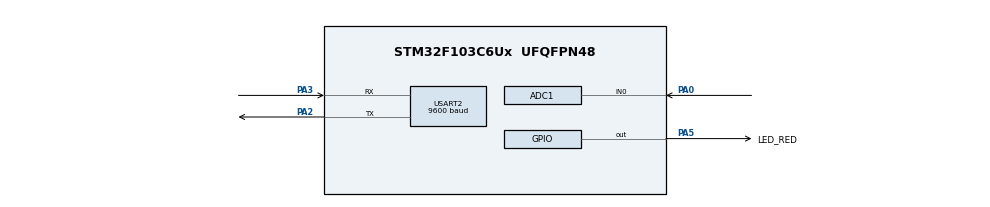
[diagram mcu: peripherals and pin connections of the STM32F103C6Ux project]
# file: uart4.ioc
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ADC1.Channel-0\#ChannelRegularConversion=ADC_CHANNEL_0
ADC1.ContinuousConvMode=ENABLE
ADC1.NbrOfConversionFlag=1
ADC1.Rank-0\#ChannelRegularConversion=1
ADC1.SamplingTime-0\#ChannelRegularConversion=ADC_SAMPLETIME_1CYCLE_5
ADC1.master=1
Mcu.Family=STM32F1
Mcu.Name=STM32F103C6Ux
Mcu.Package=UFQFPN48
NVIC.PriorityGroup=NVIC_PRIORITYGROUP_4
NVIC.TIM2_IRQn=true\:0\:0\:false\:false\:true\:true\:true
NVIC.USART2_IRQn=true\:0\:0\:false\:false\:true\:true\:true
PA0-WKUP.Signal=ADCx_IN0
PA2.Mode=Asynchronous
PA2.Signal=USART2_TX
PA3.Mode=Asynchronous
PA3.Signal=USART2_RX
PA5.GPIO_Label=LED_RED
PA5.Signal=GPIO_Output
ProjectManager.HeapSize=0x200
ProjectManager.StackSize=0x400
ProjectManager.TargetToolchain=STM32CubeIDE
RCC.APB1Freq_Value=8000000
RCC.APB2Freq_Value=8000000
SH.ADCx_IN0.0=ADC1_IN0,IN0
TIM2.Period=9
TIM2.Prescaler=7999
USART2.BaudRate=9600
USART2.VirtualMode=VM_ASYNC
VP_SYS_VS_ND.Mode=No_Debug
VP_TIM2_VS_ClockSourceINT.Mode=Internal
board=custom

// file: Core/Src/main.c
/* USER CODE BEGIN Header */
/**
  ******************************************************************************
  * @file           : main.c
  * @brief          : Main program body
  ******************************************************************************
  * @attention
  *
  * <h2><center>&copy; Copyright (c) 2023 STMicroelectronics.
  * All rights reserved.</center></h2>
  *
  * This software component is licensed by ST under BSD 3-Clause license,
  * the "License"; You may not use this file except in compliance with the
  * License. You may obtain a copy of the License at:
  *                        opensource.org/licenses/BSD-3-Clause
  *
  ******************************************************************************
  */
/* USER CODE END Header */
#include "main.h"
#include "fsm.h"
#include <stdio.h>
#include <string.h>

void SystemClock_Config(void);
static void MX_GPIO_Init(void);
static void MX_ADC1_Init(void);
static void MX_USART2_UART_Init(void);
static void MX_TIM2_Init(void);

/* USER CODE BEGIN 0 */
//uint8_t temp = 0;
//uint8_t buffer[] = {0,0,0,0,0,'\r','\n'};
//uint8_t index_buffer = 0;
//void HAL_UART_RxCpltCallback(UART_HandleTypeDef *huart){
//	if(huart->Instance == USART2){
//		buffer[index_buffer ++] = temp;
//		if(index_buffer >= 5) index_buffer = 0;
//		HAL_UART_Transmit(&huart2, &temp, 1, 100);
//		if(temp == '!'){
//			HAL_UART_Transmit(&huart2, buffer, 7, 50);
//		}
//		HAL_UART_Receive_IT(&huart2, &temp, 1);
//	}
//}

uint8_t index_buffer = 0;
uint8_t buffer_flag = 0;
uint8_t temp = 0;

void HAL_UART_RxCpltCallback(UART_HandleTypeDef *huart){
	if(huart->Instance == USART2){
		buffer[index_buffer++] = temp;
		if(index_buffer == 30) index_buffer = 0;
		HAL_UART_Transmit(&huart2, &temp, 1, 100);
		buffer_flag = 1;
		HAL_UART_Receive_IT(&huart2, &temp, 1);
	}
}
/* USER CODE END 0 */

int main(void)
{

  /* MCU Configuration--------------------------------------------------------*/

  /* Reset of all peripherals, Initializes the Flash interface and the Systick. */
  HAL_Init();

  /* Configure the system clock */
  SystemClock_Config();

  /* Initialize all configured peripherals */
  MX_GPIO_Init();
  MX_ADC1_Init();
  MX_USART2_UART_Init();
  MX_TIM2_Init();
  /* USER CODE BEGIN 2 */
  HAL_TIM_Base_Start_IT(&htim2);
  /* USER CODE END 2 */

  /* Infinite loop */
  /* USER CODE BEGIN WHILE */
  HAL_UART_Receive_IT(&huart2, &temp, 1);
  HAL_ADC_Start(&hadc1);
  HAL_GPIO_WritePin(LED_RED_GPIO_Port, LED_RED_Pin, SET);
  parser_status = WAIT;
  while (1)
  {
	  if(buffer_flag == 1){
		  command_parser_fsm();
		  buffer_flag = 0;
	  }
	  uart_communication_fsm();
    /* USER CODE END WHILE */

  }
}

void SystemClock_Config(void)
{
  RCC_OscInitTypeDef RCC_OscInitStruct = {0};
  RCC_ClkInitTypeDef RCC_ClkInitStruct = {0};
  RCC_PeriphCLKInitTypeDef PeriphClkInit = {0};

  /** Initializes the RCC Oscillators according to the specified parameters
  * in the RCC_OscInitTypeDef structure.
  */
  RCC_OscInitStruct.OscillatorType = RCC_OSCILLATORTYPE_HSI;
  RCC_OscInitStruct.HSIState = RCC_HSI_ON;
  RCC_OscInitStruct.HSICalibrationValue = RCC_HSICALIBRATION_DEFAULT;
  RCC_OscInitStruct.PLL.PLLState = RCC_PLL_NONE;
  if (HAL_RCC_OscConfig(&RCC_OscInitStruct) != HAL_OK)
  {
    Error_Handler();
  }
  /** Initializes the CPU, AHB and APB buses clocks
  */
  RCC_ClkInitStruct.ClockType = RCC_CLOCKTYPE_HCLK|RCC_CLOCKTYPE_SYSCLK
                              |RCC_CLOCKTYPE_PCLK1|RCC_CLOCKTYPE_PCLK2;
  RCC_ClkInitStruct.SYSCLKSource = RCC_SYSCLKSOURCE_HSI;
  RCC_ClkInitStruct.AHBCLKDivider = RCC_SYSCLK_DIV1;
  RCC_ClkInitStruct.APB1CLKDivider = RCC_HCLK_DIV1;
  RCC_ClkInitStruct.APB2CLKDivider = RCC_HCLK_DIV1;

  if (HAL_RCC_ClockConfig(&RCC_ClkInitStruct, FLASH_LATENCY_0) != HAL_OK)
  {
    Error_Handler();
  }
  PeriphClkInit.PeriphClockSelection = RCC_PERIPHCLK_ADC;
  PeriphClkInit.AdcClockSelection = RCC_ADCPCLK2_DIV2;
  if (HAL_RCCEx_PeriphCLKConfig(&PeriphClkInit) != HAL_OK)
  {
    Error_Handler();
  }
}

static void MX_ADC1_Init(void)
{

  ADC_ChannelConfTypeDef sConfig = {0};

  /** Common config
  */
  hadc1.Instance = ADC1;
  hadc1.Init.ScanConvMode = ADC_SCAN_DISABLE;
  hadc1.Init.ContinuousConvMode = ENABLE;
  hadc1.Init.DiscontinuousConvMode = DISABLE;
  hadc1.Init.ExternalTrigConv = ADC_SOFTWARE_START;
  hadc1.Init.DataAlign = ADC_DATAALIGN_RIGHT;
  hadc1.Init.NbrOfConversion = 1;
  if (HAL_ADC_Init(&hadc1) != HAL_OK)
  {
    Error_Handler();
  }
  /** Configure Regular Channel
  */
  sConfig.Channel = ADC_CHANNEL_0;
  sConfig.Rank = ADC_REGULAR_RANK_1;
  sConfig.SamplingTime = ADC_SAMPLETIME_1CYCLE_5;
  if (HAL_ADC_ConfigChannel(&hadc1, &sConfig) != HAL_OK)
  {
    Error_Handler();
  }

}

static void MX_TIM2_Init(void)
{

  TIM_ClockConfigTypeDef sClockSourceConfig = {0};
  TIM_MasterConfigTypeDef sMasterConfig = {0};

  htim2.Instance = TIM2;
  htim2.Init.Prescaler = 7999;
  htim2.Init.CounterMode = TIM_COUNTERMODE_UP;
  htim2.Init.Period = 9;
  htim2.Init.ClockDivision = TIM_CLOCKDIVISION_DIV1;
  htim2.Init.AutoReloadPreload = TIM_AUTORELOAD_PRELOAD_DISABLE;
  if (HAL_TIM_Base_Init(&htim2) != HAL_OK)
  {
    Error_Handler();
  }
  sClockSourceConfig.ClockSource = TIM_CLOCKSOURCE_INTERNAL;
  if (HAL_TIM_ConfigClockSource(&htim2, &sClockSourceConfig) != HAL_OK)
  {
    Error_Handler();
  }
  sMasterConfig.MasterOutputTrigger = TIM_TRGO_RESET;
  sMasterConfig.MasterSlaveMode = TIM_MASTERSLAVEMODE_DISABLE;
  if (HAL_TIMEx_MasterConfigSynchronization(&htim2, &sMasterConfig) != HAL_OK)
  {
    Error_Handler();
  }

}

static void MX_USART2_UART_Init(void)
{

  huart2.Instance = USART2;
  huart2.Init.BaudRate = 9600;
  huart2.Init.WordLength = UART_WORDLENGTH_8B;
  huart2.Init.StopBits = UART_STOPBITS_1;
  huart2.Init.Parity = UART_PARITY_NONE;
  huart2.Init.Mode = UART_MODE_TX_RX;
  huart2.Init.HwFlowCtl = UART_HWCONTROL_NONE;
  huart2.Init.OverSampling = UART_OVERSAMPLING_16;
  if (HAL_UART_Init(&huart2) != HAL_OK)
  {
    Error_Handler();
  }

}

static void MX_GPIO_Init(void)
{
  GPIO_InitTypeDef GPIO_InitStruct = {0};

  /* GPIO Ports Clock Enable */
  __HAL_RCC_GPIOA_CLK_ENABLE();

  /*Configure GPIO pin Output Level */
  HAL_GPIO_WritePin(LED_RED_GPIO_Port, LED_RED_Pin, GPIO_PIN_RESET);

  /*Configure GPIO pin : LED_RED_Pin */
  GPIO_InitStruct.Pin = LED_RED_Pin;
  GPIO_InitStruct.Mode = GPIO_MODE_OUTPUT_PP;
  GPIO_InitStruct.Pull = GPIO_NOPULL;
  GPIO_InitStruct.Speed = GPIO_SPEED_FREQ_LOW;
  HAL_GPIO_Init(LED_RED_GPIO_Port, &GPIO_InitStruct);

}

/* USER CODE BEGIN 4 */
void HAL_TIM_PeriodElapsedCallback(TIM_HandleTypeDef *htim){
	timerRun();
}
/* USER CODE END 4 */

void Error_Handler(void)
{
  __disable_irq();
  while (1)
  {
  }
}

/************************ (C) COPYRIGHT STMicroelectronics *****END OF FILE****/
